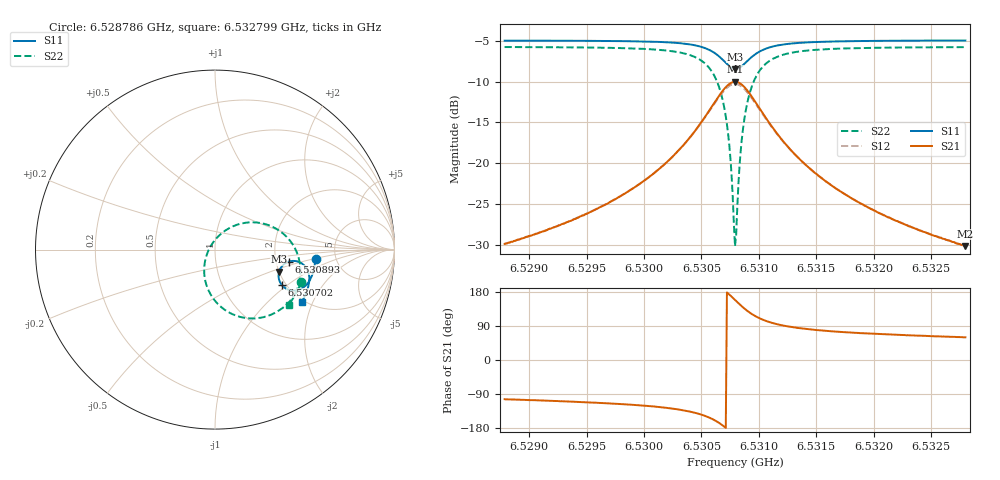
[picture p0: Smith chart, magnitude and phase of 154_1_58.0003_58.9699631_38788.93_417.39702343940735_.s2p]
#  HZ  S  RI  R  50.00
! Rohde & Schwarz Vector Network Analyzer
! Rohde-Schwarz,ZNB20-2Port,1311601062101988,3.16
! Created: UTC 3/21/2024, 12:57:09 AM
! freq[Hz]  re:S11  im:S11  re:S21  im:S21  re:S12  im:S12  re:S22  im:S22
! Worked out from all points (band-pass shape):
!   401 points, 6.528786 GHz to 6.532799 GHz, reference 50 ohm
!   highest |S21| = -10.03 dB at 6.530793 GHz (marker M1); lowest = -30.2 dB at 6.532799 GHz (marker M2)
!   |S21| within 3 dB of the highest: 6.530593 GHz to 6.530994 GHz (401.1 kHz wide, 0.00614 % of centre)
!   lowest |S11| = -8.5 dB at 6.530793 GHz (marker M3), VSWR 2.21, Z = 100 - j28.8 ohm
!   |S11| at or under -10 dB: nowhere
!   |S22| runs from -30.2 to -5.8 dB; largest |S21 - S12| = 0.013
!   S11 on the Smith chart (normalised r, x): 6.528786 GHz: 3.49, -0.53; 6.530702 GHz: 1.90, -0.90; 6.530893 GHz: 2.36, -0.38; 6.532799 GHz: 1.95, -1.66
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6.5287864e9  0.5606 -0.052  -0.00742 -0.0311  -0.00816 -0.031  0.4815 -0.1817
6.5294585e9  0.5512 -0.1087  -0.0171 -0.0444  -0.0182 -0.044  0.4494 -0.2445
6.5298196e9  0.5409 -0.1427  -0.0289 -0.0574  -0.0304 -0.0566  0.4174 -0.2872
6.5301306e9  0.5241 -0.1773  -0.0516 -0.0761  -0.0538 -0.0746  0.3652 -0.3337
6.5303613e9  0.4972 -0.2077  -0.0924 -0.0962  -0.0952 -0.0931  0.2824 -0.3733
6.5305319e9  0.4529 -0.2277  -0.1621 -0.1032  -0.1646 -0.0963  0.1533 -0.3779
6.5306322e9  0.4069 -0.2229  -0.2335 -0.0764  -0.2328 -0.0663  0.0335 -0.3191
6.5307024e9  0.3707 -0.1951  -0.2865 -0.0167  -0.2803 -0.00605  -0.0439 -0.208
6.5307425e9  0.3567 -0.1667  -0.303 0.0376  -0.2937 0.0463  -0.0604 -0.115
6.5307826e9  0.3551 -0.1322  -0.2985 0.0999  -0.2869 0.1048  -0.0405 -0.0141
6.5307927e9  0.3571 -0.1235  -0.2934 0.1151  -0.2818 0.119  -0.0293 0.00996
6.5308027e9  0.3599 -0.115  -0.287 0.1298  -0.2752 0.1326  -0.0158 0.0326
6.5308127e9  0.3635 -0.1071  -0.2788 0.1437  -0.2674 0.1455  9.3e-05 0.0538
6.5308328e9  0.3733 -0.0926  -0.2596 0.1685  -0.2486 0.1684  0.0365 0.0904
6.5308529e9  0.3854 -0.0809  -0.2367 0.1883  -0.2267 0.1869  0.0778 0.1187
6.530893e9  0.4127 -0.0665  -0.1864 0.2124  -0.1792 0.2092  0.1648 0.1486
6.5309632e9  0.4571 -0.0654  -0.1091 0.2149  -0.1053 0.2116  0.295 0.1374
6.5310635e9  0.4961 -0.0871  -0.0423 0.1833  -0.0406 0.1816  0.4026 0.0678
6.531214e9  0.5192 -0.1235  -0.00208 0.1356  -0.000653 0.1349  0.4612 -0.0299
6.5314648e9  0.5254 -0.167  0.0154 0.0888  0.0166 0.0884  0.4758 -0.1292
6.5321369e9  0.5093 -0.2383  0.0178 0.0428  0.0186 0.0425  0.4471 -0.2463
6.5327989e9  0.485 -0.2893  0.0155 0.0268  0.0162 0.0266  0.4129 -0.3065
